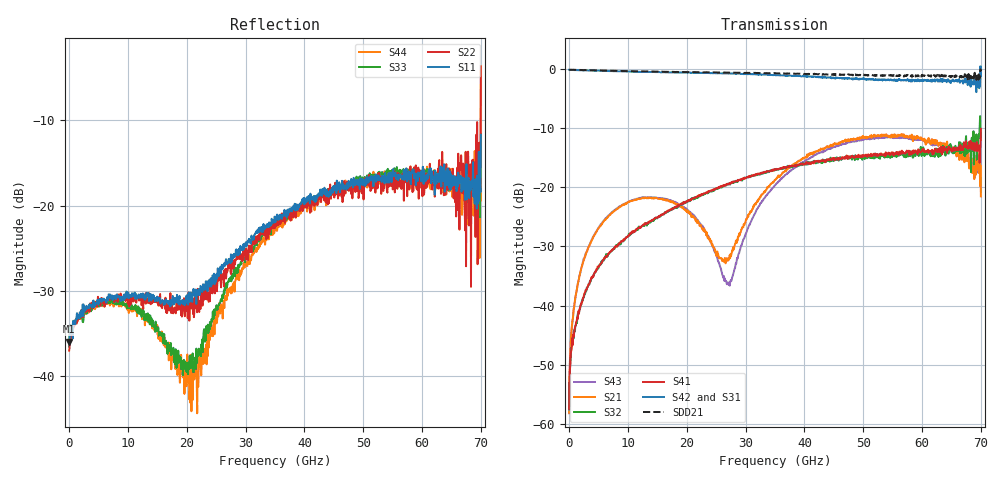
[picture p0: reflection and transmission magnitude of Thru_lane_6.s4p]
! 4/13/2026 10:44:14 AM
! C:\ANRITSUVNA\DATA\SARA\2026-04-13 T5 MZDRV\DEEMB STRUCTURES\THRU_1.S4P
! CHANNEL.1
! TR.MEASUREMENT
! CORRECTED.DATA
! RF.CORRECTION: FULL.FOUR.PORT.CAL.PORT.1.2.3.4
! AVERAGING.OFF
! IF.BANDWIDTH: 1KHZ
! SWEEPTYPE:  FREQ.SWEEP(Linear)
! Reference Plane Port Info
! PORT:  PORT1  PORT2  PORT3  PORT4
! DISTANCE:  0  m  0  m  0  m  0  m
! TIME:  0  s  0  s  0  s  0  s
! PHASE.OFFSET:  0 °  0 °  0 °  0 °
! LOSS:  0  dB  0  dB  0  dB  0  dB
! REF.LOSS:  0  dB  0  dB  0  dB  0  dB
! REF.FREQ:  0  Hz  0  Hz  0  Hz  0  Hz
! Power Info
! POWER:  -20  dBm  -20  dBm  -20  dBm  -20  dBm
! EFF.POWER:  -20  dBm  -20  dBm  -20  dBm  -20  dBm
! SOURCE.ATTEN:  0  dB  0  dB  0  dB  0  dB
! TEST.ATTEN:  0  dB  0  dB  0  dB  0  dB
# HZ S DB R 50.0
! FREQ.HZ  S11DB  S11A  S12DB  S12A  S13DB  S13A  S14DB  S14A
!  S21DB  S21A  S22DB  S22A  S23DB  S23A  S24DB  S24A
!  S31DB  S31A  S32DB  S32A  S33DB  S33A  S34DB  S34A
!  S41DB  S41A  S42DB  S42A  S43DB  S43A  S44DB  S44A
!; PortSelection: Port_1234
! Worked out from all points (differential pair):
!   1001 points, 10 MHz to 70 GHz, reference 50 ohm
!   strongest paths, dB at 10 MHz, 17.51 GHz, 35.01 GHz, 52.5 GHz, 70 GHz:
!     S42: -0.1, -0.6, -1.0, -1.9, -1.2
!     S31: -0.1, -0.6, -1.0, -1.8, -2.9
!     S41: -57.5, -23.7, -17.0, -14.7, -10.1
!     S32: -57.6, -23.8, -17.0, -14.5, -11.4
!     S21: -58.1, -22.5, -18.8, -11.2, -21.5
!     S43: -58.2, -22.3, -19.7, -11.7, -10.6
!   taken as a pair (ports 2,1 in; 4,3 out), SDD21 dB: -0.1, -0.5, -0.7, -1.1, -0.4
!   lowest |S11| = -35.9 dB at 10 MHz (marker M1), VSWR 1.03, Z = 51.6 + j0.0235 ohm
!   |S11| at or under -10 dB: start of sweep to end of sweep
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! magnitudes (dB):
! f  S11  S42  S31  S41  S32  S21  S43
! 10 MHz  -35.9  -0.1  -0.1  -57.5  -57.6  -58.1  -58.2
! 2.53 GHz  -32.2  -0.2  -0.2  -38.3  -38.6  -32.3  -32.2
! 10.23 GHz  -30.7  -0.4  -0.4  -28.1  -27.9  -22.5  -22.4
! 20.66 GHz  -30.2  -0.6  -0.6  -22.0  -22.2  -24.4  -24.3
! 26.96 GHz  -26.6  -0.7  -0.8  -19.5  -19.4  -32.4  -36.2
! 46.76 GHz  -17.9  -1.7  -1.5  -15.0  -15.0  -12.1  -12.6
! 70 GHz  -11.7  -1.2  -2.9  -10.1  -11.4  -21.5  -10.6
